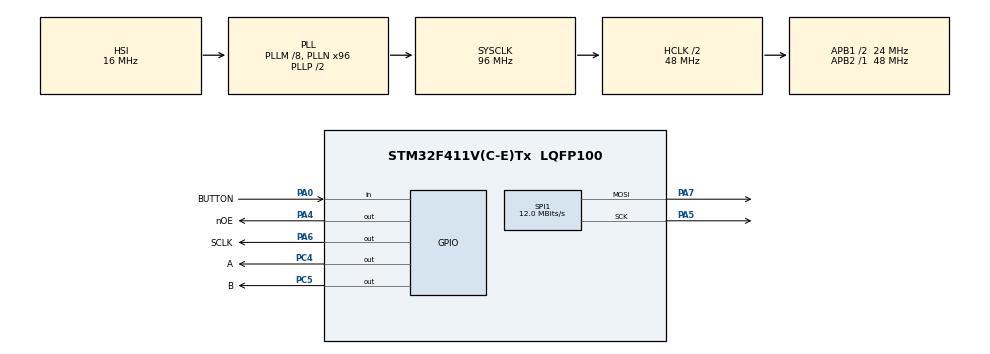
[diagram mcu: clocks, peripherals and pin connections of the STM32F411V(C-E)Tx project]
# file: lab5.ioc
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Mcu.Family=STM32F4
Mcu.Name=STM32F411V(C-E)Tx
Mcu.Package=LQFP100
NVIC.PriorityGroup=NVIC_PRIORITYGROUP_4
NVIC.TIM1_UP_TIM10_IRQn=true\:0\:0\:false\:false\:true\:true\:true\:true
PA0-WKUP.GPIO_Label=BUTTON
PA0-WKUP.Signal=GPIO_Input
PA13.Mode=Serial_Wire
PA13.Signal=SYS_JTMS-SWDIO
PA14.Mode=Serial_Wire
PA14.Signal=SYS_JTCK-SWCLK
PA4.GPIO_Label=nOE
PA4.Signal=GPIO_Output
PA5.Mode=TX_Only_Simplex_Unidirect_Master
PA5.Signal=SPI1_SCK
PA6.GPIO_Label=SCLK
PA6.Signal=GPIO_Output
PA7.Mode=TX_Only_Simplex_Unidirect_Master
PA7.Signal=SPI1_MOSI
PC4.GPIO_Label=A
PC4.Signal=GPIO_Output
PC5.GPIO_Label=B
PC5.Signal=GPIO_Output
PH0\ -\ OSC_IN.Mode=HSE-External-Oscillator
PH0\ -\ OSC_IN.Signal=RCC_OSC_IN
PH1\ -\ OSC_OUT.Mode=HSE-External-Oscillator
PH1\ -\ OSC_OUT.Signal=RCC_OSC_OUT
ProjectManager.HeapSize=0x200
ProjectManager.StackSize=0x400
ProjectManager.TargetToolchain=STM32CubeIDE
RCC.48MHZClocksFreq_Value=48000000
RCC.AHBCLKDivider=RCC_SYSCLK_DIV2
RCC.AHBFreq_Value=48000000
RCC.APB1CLKDivider=RCC_HCLK_DIV2
RCC.APB1Freq_Value=24000000
RCC.APB1TimFreq_Value=48000000
RCC.APB2Freq_Value=48000000
RCC.APB2TimFreq_Value=48000000
RCC.CortexFreq_Value=48000000
RCC.HCLKFreq_Value=48000000
RCC.HSE_VALUE=25000000
RCC.HSI_VALUE=16000000
RCC.LSE_VALUE=32768
RCC.PLLM=8
RCC.PLLN=96
RCC.SYSCLKFreq_VALUE=96000000
RCC.SYSCLKSource=RCC_SYSCLKSOURCE_PLLCLK
RCC.VCOOutputFreq_Value=192000000
SPI1.BaudRatePrescaler=SPI_BAUDRATEPRESCALER_4
SPI1.CalculateBaudRate=12.0 MBits/s
SPI1.Direction=SPI_DIRECTION_2LINES
SPI1.Mode=SPI_MODE_MASTER
SPI1.VirtualType=VM_MASTER
TIM1.Period=800-1
TIM1.Prescaler=1000-1
VP_TIM1_VS_ClockSourceINT.Mode=Internal
board=custom

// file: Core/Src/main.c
/* USER CODE BEGIN Header */
/**
  ******************************************************************************
  * @file           : main.c
  * @brief          : Main program body
  ******************************************************************************
  * @attention
  *
  * <h2><center>&copy; Copyright (c) 2022 STMicroelectronics.
  * All rights reserved.</center></h2>
  *
  * This software component is licensed by ST under BSD 3-Clause license,
  * the "License"; You may not use this file except in compliance with the
  * License. You may obtain a copy of the License at:
  *                        opensource.org/licenses/BSD-3-Clause
  *
  ******************************************************************************
  */
/* USER CODE END Header */
#include "main.h"
#include "spi.h"
#include "tim.h"
#include "gpio.h"

/* USER CODE BEGIN Includes */
#include "disp1color.h"
#include "font.h"
#include <locale.h>

/* USER CODE END Includes */

/* USER CODE BEGIN PD */
uint16_t xs = 15;
   float ys = 8;
   float xh = 38;
   float yh = 0;
   float xh1 = 32; // xh-6
   float yh1 = 0;
   uint8_t h_HEIGHT[16] = {5,2,7,8,4,3,7,5,2,7,4,8,7,3,4,3,2,5,2,7};
   uint8_t l_HEIGHT[16] = {12,9,14,15,11,10,14,12,9,14,11,15,14,10,11,10,9,12,9,14};
   float yl, yl1;
   uint16_t xe, ye, isdead, Pisdead;
   uint8_t jump_flag = 0;
   uint8_t jump_time = 0;
   uint8_t prop_count=0;
/* USER CODE END PD */

/* USER CODE BEGIN PV */
extern volatile int16_t flag;
int16_t X = 32;
uint16_t Period = 70;
uint16_t TickNum = 1; //150
extern uint8_t data1[16], data2[16], data3[16], data4[16];
int button; // значение кнопки
int pbutton; // прошлое значение кнопки

void disp_row(int row){

	  if (row == 0){

		  for(uint8_t i=0; i<6; i++){
		  		HAL_SPI_Transmit(&hspi1, &data1, 16, 10);
		  }

		  HAL_GPIO_WritePin(SCLK_GPIO_Port, SCLK_Pin, GPIO_PIN_RESET);
		  HAL_GPIO_WritePin(SCLK_GPIO_Port, SCLK_Pin, GPIO_PIN_SET);

		  HAL_GPIO_WritePin(A_GPIO_Port, A_Pin, GPIO_PIN_RESET);
		  HAL_GPIO_WritePin(B_GPIO_Port, B_Pin, GPIO_PIN_RESET);
	  }
	  if (row == 1){

		  for(uint8_t i=0; i<6; i++){
		  		HAL_SPI_Transmit(&hspi1, &data2, 16, 10);
		  }

		  HAL_GPIO_WritePin(SCLK_GPIO_Port, SCLK_Pin, GPIO_PIN_RESET);
		  HAL_GPIO_WritePin(SCLK_GPIO_Port, SCLK_Pin, GPIO_PIN_SET);

		  HAL_GPIO_WritePin(A_GPIO_Port, A_Pin, GPIO_PIN_SET);
		  HAL_GPIO_WritePin(B_GPIO_Port, B_Pin, GPIO_PIN_RESET);
	  }

	  if (row == 2){

		  for(uint8_t i=0; i<6; i++){
		  		HAL_SPI_Transmit(&hspi1, &data3, 16, 10);
		  }

		  HAL_GPIO_WritePin(SCLK_GPIO_Port, SCLK_Pin, GPIO_PIN_RESET);
		  HAL_GPIO_WritePin(SCLK_GPIO_Port, SCLK_Pin, GPIO_PIN_SET);

		  HAL_GPIO_WritePin(A_GPIO_Port, A_Pin, GPIO_PIN_RESET);
		  HAL_GPIO_WritePin(B_GPIO_Port, B_Pin, GPIO_PIN_SET);
	  }

	  if (row == 3){

		  for(uint8_t i=0; i<6; i++){
		  		HAL_SPI_Transmit(&hspi1, &data4, 16, 10);
		  }

		  HAL_GPIO_WritePin(SCLK_GPIO_Port, SCLK_Pin, GPIO_PIN_RESET);
		  HAL_GPIO_WritePin(SCLK_GPIO_Port, SCLK_Pin, GPIO_PIN_SET);

		  HAL_GPIO_WritePin(A_GPIO_Port, A_Pin, GPIO_PIN_SET);
		  HAL_GPIO_WritePin(B_GPIO_Port, B_Pin, GPIO_PIN_SET);
	  }

	  HAL_GPIO_WritePin(nOE_GPIO_Port, nOE_Pin, GPIO_PIN_SET);
		  for(uint32_t x=0; x<=500; x++) {};
	 HAL_GPIO_WritePin(nOE_GPIO_Port, nOE_Pin, GPIO_PIN_RESET);
  }

/* USER CODE END PV */

void SystemClock_Config(void);

int main(void)
{

  /* MCU Configuration--------------------------------------------------------*/

  /* Reset of all peripherals, Initializes the Flash interface and the Systick. */
  HAL_Init();

  /* Configure the system clock */
  SystemClock_Config();

  /* Initialize all configured peripherals */
  MX_GPIO_Init();
  MX_SPI1_Init();
  MX_TIM1_Init();
  HAL_TIM_Base_Start_IT(&htim1);
  /* USER CODE BEGIN 2 */
  HAL_GPIO_WritePin(nOE_GPIO_Port, nOE_Pin, GPIO_PIN_RESET);
  char *pMyStr = "You";  //Строка на вывод
  char *pMyStr2 = "Lose";

  /* USER CODE END 2 */
//isdead = 0; // Логическая метка, что игрок мёртв
  /* Infinite loop */
  while (1)
  {

    /* USER CODE BEGIN 3 */
	  // Алгоритм, чтобы избавиться от дребезга контактов кнопки
	  //=============================================================
	  button = HAL_GPIO_ReadPin(BUTTON_GPIO_Port, BUTTON_Pin);
	  if(button>pbutton) { // значение тек. больше предыдушего
		  jump_flag = 1; // логическая метка прыжка, при нажатии на кнопку
	  }
	  pbutton = button; // новое становится старым
	  //=============================================================
	  // Основное условие игры
	  if ((flag == 1) &&(Pisdead == 0)){ // флаг переменная с таймера, которая срабатывает 60 раз в секунду
		  	  	xh = xh-0.5; // Движение препятствий
		  	  	if (xh<-6){ // Если препятствие ушло за конец экрана, прибавляется счётчик препятствий
		  	  		prop_count++; // счётчик
		  	  		if (prop_count>15){ // Ограничение счётчика (15 потому что массив из 16 элементов)
		  	  			prop_count=0; // Сброс счётчика препятствий ( Счётчик == индекс массива)
		  	  		}
		  	  		xh = 38; // Генерация нового препятствия с заданной координаты
		  	  	}
		  	  	xh1 = xh + 6; // Ширина препят
		  	  	yh = 0; //  Верхний карй верхнего препят
		  	  	yl = 16; // Нижний край нижнего препят
		  	  	yh1 = h_HEIGHT[prop_count]; // Нижняя часть верхего препят
		  	  	yl1 = l_HEIGHT[prop_count]; // Вернхняя часть нижнего препят
	  			ys = ys + 0.33; // Изменение координат птички, падение вниз
	  			// ======================================================
	  			// Обработка прыжка
	  			if ((jump_flag == 1)&&(jump_time<4)){ // джамп тайм = кол-во кадров с начала прыжка
	  				jump_time++; // Cчётчик кадров в прыжке
	  				ys = ys-1.25; //Изменение координаты птички вверх
	  			}
	  			else if ((jump_flag == 1) && (jump_time>=4)){// Проверка, если кадров в прыжке больше чем 3 прыжок заканичавется
	  				jump_time=0;
	  				jump_flag=0;
	  			}
	  			// =======================================================
	  			if (ys > 13) ys=13; // Ограничение координатов птички снизу
	  			if (ys < 3) ys = 3; // Ограничение координатов птички сверху
	  			if (((xs-1)>=xh) && (ys<=yh1)&&((xs-1)<=xh1)){ // Проверка столкновения птички с препят
	  				Pisdead++;
//	  				break; // Проверка если верхняя координата птички совадает с обалстью препятстивя( Есть ли часть птички в области)
	  				// (xs-1)>=xh Проверка лежит ли координата птички на промежутке препятсвия от xh до беск
	  				//(xs-1)<=xh1 проверка на промежуток от -inf до xh1
	  				// (xs-1)>=xh и (xs-1)<=xh1 Проверка находится ли птичка в области от xh до xh1
	  				// (ys<=yh1) Проврека игриковой координаты
	  			}
			if ((xs>=xh) && (xs<=xh1) && ((ys+1) >= yl1)) // Как вверху, но для нижнего препятствия
			{
				Pisdead++; // Игрок мётрв и игрвоой цикл не идёт
//				break;
			}
	  			flag = 0;
	  		}
	  //================================================================
	  		if (Pisdead == 0){
	  		// Отчищение экрана
	  		disp1color_FillScreenbuff(0);
	  		// Отрисовка птички
    		disp1color_DrawLine(xs, (int)ys, xs-1, (int)ys);
    		disp1color_DrawLine(xs-1,(int)ys+1,xs+1,(int)ys+1);
    		// Отрисовка препятствий
    		disp1color_DrawRectangle(xh,yh,xh1,yh1);
    		disp1color_DrawRectangle(xh,yl,xh1,yl1);
	  		}
//	  		if (Pisdead){
////	  			disp1color_FillScreenbuff(0); kakogo huya pishet bukvi v alfavitnom poryadke
////	  			disp1color_DrawString(0, 0, FONTID_6X8M, pMyStr);
////	  			disp1color_DrawString(0, 0, FONTID_6X8M, pMyStr2);
//	  		}

	  		disp1color_UpdateFromBuff(); //Перевод рассчитанных данных в массив
	  		prepare_data(); //Разбиение массива на массивы под каждую строку

	  		//Включение матрицы (построчно)
	  		for (uint8_t i = 0; i < 20; i++) {
	  			disp_row(0);
	  			disp_row(1);
	  			disp_row(2);
	  			disp_row(3);
	  		}
  }
  /* USER CODE END 3 */
}

void SystemClock_Config(void)
{
  RCC_OscInitTypeDef RCC_OscInitStruct = {0};
  RCC_ClkInitTypeDef RCC_ClkInitStruct = {0};

  /** Configure the main internal regulator output voltage
  */
  __HAL_RCC_PWR_CLK_ENABLE();
  __HAL_PWR_VOLTAGESCALING_CONFIG(PWR_REGULATOR_VOLTAGE_SCALE1);
  /** Initializes the RCC Oscillators according to the specified parameters
  * in the RCC_OscInitTypeDef structure.
  */
  RCC_OscInitStruct.OscillatorType = RCC_OSCILLATORTYPE_HSI;
  RCC_OscInitStruct.HSIState = RCC_HSI_ON;
  RCC_OscInitStruct.HSICalibrationValue = RCC_HSICALIBRATION_DEFAULT;
  RCC_OscInitStruct.PLL.PLLState = RCC_PLL_ON;
  RCC_OscInitStruct.PLL.PLLSource = RCC_PLLSOURCE_HSI;
  RCC_OscInitStruct.PLL.PLLM = 8;
  RCC_OscInitStruct.PLL.PLLN = 96;
  RCC_OscInitStruct.PLL.PLLP = RCC_PLLP_DIV2;
  RCC_OscInitStruct.PLL.PLLQ = 4;
  if (HAL_RCC_OscConfig(&RCC_OscInitStruct) != HAL_OK)
  {
    Error_Handler();
  }
  /** Initializes the CPU, AHB and APB buses clocks
  */
  RCC_ClkInitStruct.ClockType = RCC_CLOCKTYPE_HCLK|RCC_CLOCKTYPE_SYSCLK
                              |RCC_CLOCKTYPE_PCLK1|RCC_CLOCKTYPE_PCLK2;
  RCC_ClkInitStruct.SYSCLKSource = RCC_SYSCLKSOURCE_PLLCLK;
  RCC_ClkInitStruct.AHBCLKDivider = RCC_SYSCLK_DIV2;
  RCC_ClkInitStruct.APB1CLKDivider = RCC_HCLK_DIV2;
  RCC_ClkInitStruct.APB2CLKDivider = RCC_HCLK_DIV1;

  if (HAL_RCC_ClockConfig(&RCC_ClkInitStruct, FLASH_LATENCY_1) != HAL_OK)
  {
    Error_Handler();
  }
}

void Error_Handler(void)
{
  __disable_irq();
  while (1)
  {
  }
}

/************************ (C) COPYRIGHT STMicroelectronics *****END OF FILE****/
